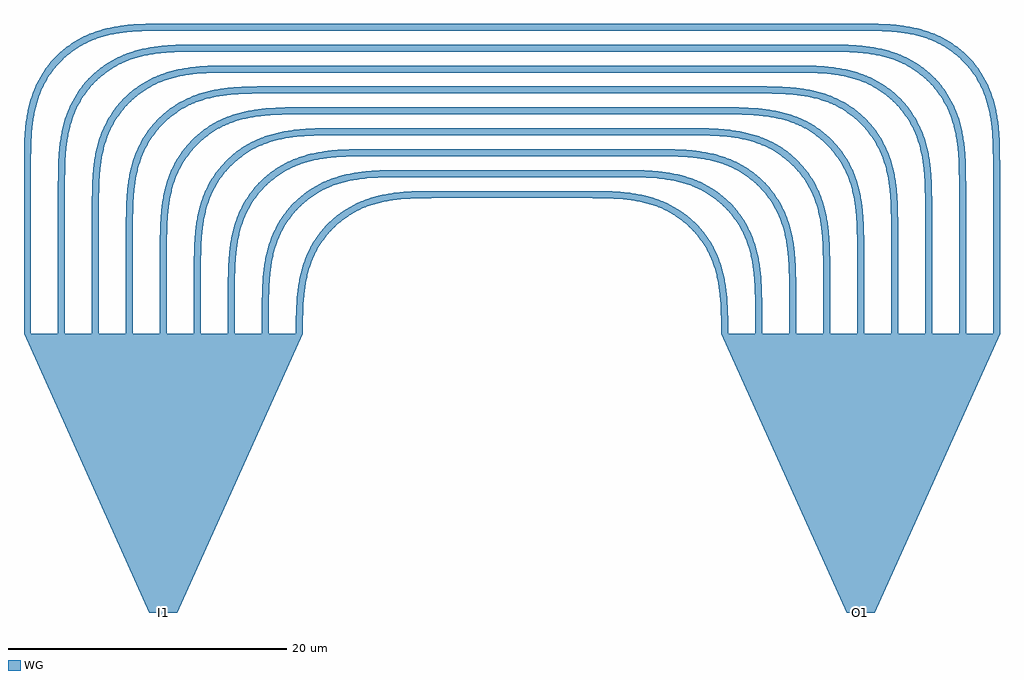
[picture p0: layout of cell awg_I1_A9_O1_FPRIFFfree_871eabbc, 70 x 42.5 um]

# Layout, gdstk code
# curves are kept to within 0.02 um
from math import pi, radians
import gdstk
lib = gdstk.Library(unit=1e-6, precision=1e-09)
def R(c, l, rs):  # rectangles x0, y0, x1, y1
    for r in rs: c.add(gdstk.rectangle(r[:2], r[2:], *l))
def P(c, l, *ps):  # polygons
    for p in ps: c.add(gdstk.Polygon(p, *l))
WG = (200, 0)

free_propagation_region_ = lib.new_cell('free_propagation_region_8918fe0a')
P(free_propagation_region_, WG, [(20,-10),(0,-1),(0,1),(20,10)],
  [(0,-0.25),(-0.25,0),(-0.062,0.188),(-0.025,0.188),(-0.215,0),(-0.025,0),(-0.025,0.188),(-0.062,0.188),(0,0.25)],
  [(20,-10),(20,-9.75),(20.025,-9.75),(20.025,-9.938),(20.215,-9.75),(20,-9.75),(20,-9.5),(20.25,-9.75)],
  [(20,-7.562),(20,-7.312),(20.025,-7.312),(20.025,-7.5),(20.215,-7.312),(20,-7.312),(20,-7.062),(20.25,-7.312)],
  [(20,-5.125),(20,-4.875),(20.025,-4.875),(20.025,-5.063),(20.215,-4.875),(20,-4.875),(20,-4.625),(20.25,-4.875)],
  [(20,-2.688),(20,-2.438),(20.025,-2.438),(20.025,-2.626),(20.215,-2.438),(20,-2.438),(20,-2.188),(20.25,-2.438)],
  [(20,-0.25),(20,0),(20.025,0),(20.025,-0.188),(20.215,0),(20,0),(20,0.25),(20.25,0)],
  [(20,2.188),(20,2.438),(20.025,2.438),(20.025,2.25),(20.215,2.438),(20,2.438),(20,2.688),(20.25,2.438)],
  [(20,4.625),(20,4.875),(20.025,4.875),(20.025,4.687),(20.215,4.875),(20,4.875),(20,5.125),(20.25,4.875)],
  [(20,7.062),(20,7.312),(20.025,7.312),(20.025,7.124),(20.215,7.312),(20,7.312),(20,7.562),(20.25,7.312)],
  [(20,9.5),(20,9.75),(20.025,9.75),(20.025,9.562),(20.215,9.75),(20,9.75),(20,10),(20.25,9.75)])
free_propagation_region_.add(gdstk.Label('o1', (0,0), layer=200, texttype=0))
free_propagation_region_.add(gdstk.Label('E0', (20,-9.75), layer=200, texttype=0))
free_propagation_region_.add(gdstk.Label('E1', (20,-7.312), layer=200, texttype=0))
free_propagation_region_.add(gdstk.Label('E2', (20,-4.875), layer=200, texttype=0))
free_propagation_region_.add(gdstk.Label('E3', (20,-2.438), layer=200, texttype=0))
free_propagation_region_.add(gdstk.Label('E4', (20,0), layer=200, texttype=0))
free_propagation_region_.add(gdstk.Label('E5', (20,2.438), layer=200, texttype=0))
free_propagation_region_.add(gdstk.Label('E6', (20,4.875), layer=200, texttype=0))
free_propagation_region_.add(gdstk.Label('E7', (20,7.312), layer=200, texttype=0))
free_propagation_region_.add(gdstk.Label('E8', (20,9.75), layer=200, texttype=0))

bend_euler_r10_a90_p0p5_ = lib.new_cell('bend_euler_R10_A90_P0p5_f9fcb00b')
P(bend_euler_r10_a90_p0p5_, WG, [(0,-0.25),(0,0.25),(1.655,0.269),(2.881,0.353),(3.952,0.52),(4.99,0.806),(5.731,1.113),(6.431,1.505),(7.079,1.976),(7.575,2.425),(8.024,2.921),(8.495,3.569),(8.887,4.269),(9.194,5.01),(9.48,6.048),(9.647,7.119),(9.731,8.345),(9.75,10),(10.25,10),(10.235,8.468),(10.158,7.205),(10.023,6.224),(9.797,5.254),(9.457,4.312),(9.066,3.545),(8.5,2.715),(7.928,2.072),(7.285,1.5),(6.455,0.934),(5.688,0.543),(4.746,0.203),(3.776,-0.023),(2.795,-0.158),(1.532,-0.235)])

straight_l12_n2_csstrip = lib.new_cell('straight_L12_N2_CSstrip')
R(straight_l12_n2_csstrip, WG, [(0,-0.25,12,0.25)])

straight_l49p5_n2_csstri = lib.new_cell('straight_L49p5_N2_CSstrip')
R(straight_l49p5_n2_csstri, WG, [(0,-0.25,49.5,0.25)])

straight_l10p5_n2_csstri = lib.new_cell('straight_L10p5_N2_CSstrip')
R(straight_l10p5_n2_csstri, WG, [(0,-0.25,10.5,0.25)])

straight_l44p624_n2_csst = lib.new_cell('straight_L44p624_N2_CSstrip')
R(straight_l44p624_n2_csst, WG, [(0,-0.25,44.624,0.25)])

straight_l9_n2_csstrip = lib.new_cell('straight_L9_N2_CSstrip')
R(straight_l9_n2_csstrip, WG, [(0,-0.25,9,0.25)])

straight_l39p75_n2_csstr = lib.new_cell('straight_L39p75_N2_CSstrip')
R(straight_l39p75_n2_csstr, WG, [(0,-0.25,39.75,0.25)])

straight_l7p5_n2_csstrip = lib.new_cell('straight_L7p5_N2_CSstrip')
R(straight_l7p5_n2_csstrip, WG, [(0,-0.25,7.5,0.25)])

straight_l34p876_n2_csst = lib.new_cell('straight_L34p876_N2_CSstrip')
R(straight_l34p876_n2_csst, WG, [(0,-0.25,34.876,0.25)])

straight_l6_n2_csstrip = lib.new_cell('straight_L6_N2_CSstrip')
R(straight_l6_n2_csstrip, WG, [(0,-0.25,6,0.25)])

straight_l30_n2_csstrip = lib.new_cell('straight_L30_N2_CSstrip')
R(straight_l30_n2_csstrip, WG, [(0,-0.25,30,0.25)])

straight_l4p5_n2_csstrip = lib.new_cell('straight_L4p5_N2_CSstrip')
R(straight_l4p5_n2_csstrip, WG, [(0,-0.25,4.5,0.25)])

straight_l25p124_n2_csst = lib.new_cell('straight_L25p124_N2_CSstrip')
R(straight_l25p124_n2_csst, WG, [(0,-0.25,25.124,0.25)])

straight_l3_n2_csstrip = lib.new_cell('straight_L3_N2_CSstrip')
R(straight_l3_n2_csstrip, WG, [(0,-0.25,3,0.25)])

straight_l20p25_n2_csstr = lib.new_cell('straight_L20p25_N2_CSstrip')
R(straight_l20p25_n2_csstr, WG, [(0,-0.25,20.25,0.25)])

straight_l1p5_n2_csstrip = lib.new_cell('straight_L1p5_N2_CSstrip')
R(straight_l1p5_n2_csstrip, WG, [(0,-0.25,1.5,0.25)])

straight_l15p376_n2_csst = lib.new_cell('straight_L15p376_N2_CSstrip')
R(straight_l15p376_n2_csst, WG, [(0,-0.25,15.376,0.25)])

awg_i1_a9_o1_fprifffree_ = lib.new_cell('awg_I1_A9_O1_FPRIFFfree_871eabbc')
P(awg_i1_a9_o1_fprifffree_, WG, [(0,-0.25),(-0.225,-0.025),(-0.188,-0.025),(0,-0.215),(0,-0.025),(-0.225,-0.025),(-0.25,0),(0.25,0)],
  [(50,-0.25),(49.775,-0.025),(49.812,-0.025),(50,-0.215),(50,-0.025),(49.775,-0.025),(49.75,0),(50.25,0)])
awg_i1_a9_o1_fprifffree_.add(gdstk.Reference(free_propagation_region_, (0,0), rotation=pi/2))
awg_i1_a9_o1_fprifffree_.add(gdstk.Reference(free_propagation_region_, (50,0), rotation=pi/2))
awg_i1_a9_o1_fprifffree_.add(gdstk.Reference(bend_euler_r10_a90_p0p5_, (49.75,42), x_reflection=True))
awg_i1_a9_o1_fprifffree_.add(gdstk.Reference(straight_l12_n2_csstrip, (59.75,32), rotation=3*pi/2))
awg_i1_a9_o1_fprifffree_.add(gdstk.Reference(bend_euler_r10_a90_p0p5_, (-9.75,32), rotation=pi/2, x_reflection=True))
awg_i1_a9_o1_fprifffree_.add(gdstk.Reference(straight_l49p5_n2_csstri, (0.25,42)))
awg_i1_a9_o1_fprifffree_.add(gdstk.Reference(straight_l12_n2_csstrip, (-9.75,32), rotation=3*pi/2))
awg_i1_a9_o1_fprifffree_.add(gdstk.Reference(bend_euler_r10_a90_p0p5_, (47.312,40.5), x_reflection=True))
awg_i1_a9_o1_fprifffree_.add(gdstk.Reference(straight_l10p5_n2_csstri, (57.312,30.5), rotation=3*pi/2))
awg_i1_a9_o1_fprifffree_.add(gdstk.Reference(bend_euler_r10_a90_p0p5_, (-7.312,30.5), rotation=pi/2, x_reflection=True))
awg_i1_a9_o1_fprifffree_.add(gdstk.Reference(straight_l44p624_n2_csst, (2.688,40.5)))
awg_i1_a9_o1_fprifffree_.add(gdstk.Reference(straight_l10p5_n2_csstri, (-7.312,30.5), rotation=3*pi/2))
awg_i1_a9_o1_fprifffree_.add(gdstk.Reference(bend_euler_r10_a90_p0p5_, (44.875,39), x_reflection=True))
awg_i1_a9_o1_fprifffree_.add(gdstk.Reference(straight_l9_n2_csstrip, (54.875,29), rotation=3*pi/2))
awg_i1_a9_o1_fprifffree_.add(gdstk.Reference(bend_euler_r10_a90_p0p5_, (-4.875,29), rotation=pi/2, x_reflection=True))
awg_i1_a9_o1_fprifffree_.add(gdstk.Reference(straight_l39p75_n2_csstr, (5.125,39)))
awg_i1_a9_o1_fprifffree_.add(gdstk.Reference(straight_l9_n2_csstrip, (-4.875,29), rotation=3*pi/2))
awg_i1_a9_o1_fprifffree_.add(gdstk.Reference(bend_euler_r10_a90_p0p5_, (42.438,37.5), x_reflection=True))
awg_i1_a9_o1_fprifffree_.add(gdstk.Reference(straight_l7p5_n2_csstrip, (52.438,27.5), rotation=3*pi/2))
awg_i1_a9_o1_fprifffree_.add(gdstk.Reference(bend_euler_r10_a90_p0p5_, (-2.438,27.5), rotation=pi/2, x_reflection=True))
awg_i1_a9_o1_fprifffree_.add(gdstk.Reference(straight_l34p876_n2_csst, (7.562,37.5)))
awg_i1_a9_o1_fprifffree_.add(gdstk.Reference(straight_l7p5_n2_csstrip, (-2.438,27.5), rotation=3*pi/2))
awg_i1_a9_o1_fprifffree_.add(gdstk.Reference(bend_euler_r10_a90_p0p5_, (40,36), x_reflection=True))
awg_i1_a9_o1_fprifffree_.add(gdstk.Reference(straight_l6_n2_csstrip, (50,26), rotation=3*pi/2))
awg_i1_a9_o1_fprifffree_.add(gdstk.Reference(bend_euler_r10_a90_p0p5_, (0,26), rotation=pi/2, x_reflection=True))
awg_i1_a9_o1_fprifffree_.add(gdstk.Reference(straight_l30_n2_csstrip, (10,36)))
awg_i1_a9_o1_fprifffree_.add(gdstk.Reference(straight_l6_n2_csstrip, (0,26), rotation=3*pi/2))
awg_i1_a9_o1_fprifffree_.add(gdstk.Reference(bend_euler_r10_a90_p0p5_, (37.562,34.5), x_reflection=True))
awg_i1_a9_o1_fprifffree_.add(gdstk.Reference(straight_l4p5_n2_csstrip, (47.562,24.5), rotation=3*pi/2))
awg_i1_a9_o1_fprifffree_.add(gdstk.Reference(bend_euler_r10_a90_p0p5_, (2.438,24.5), rotation=pi/2, x_reflection=True))
awg_i1_a9_o1_fprifffree_.add(gdstk.Reference(straight_l25p124_n2_csst, (12.438,34.5)))
awg_i1_a9_o1_fprifffree_.add(gdstk.Reference(straight_l4p5_n2_csstrip, (2.438,24.5), rotation=3*pi/2))
awg_i1_a9_o1_fprifffree_.add(gdstk.Reference(bend_euler_r10_a90_p0p5_, (35.125,33), x_reflection=True))
awg_i1_a9_o1_fprifffree_.add(gdstk.Reference(straight_l3_n2_csstrip, (45.125,23), rotation=3*pi/2))
awg_i1_a9_o1_fprifffree_.add(gdstk.Reference(bend_euler_r10_a90_p0p5_, (4.875,23), rotation=pi/2, x_reflection=True))
awg_i1_a9_o1_fprifffree_.add(gdstk.Reference(straight_l20p25_n2_csstr, (14.875,33)))
awg_i1_a9_o1_fprifffree_.add(gdstk.Reference(straight_l3_n2_csstrip, (4.875,23), rotation=3*pi/2))
awg_i1_a9_o1_fprifffree_.add(gdstk.Reference(bend_euler_r10_a90_p0p5_, (32.688,31.5), x_reflection=True))
awg_i1_a9_o1_fprifffree_.add(gdstk.Reference(straight_l1p5_n2_csstrip, (42.688,21.5), rotation=3*pi/2))
awg_i1_a9_o1_fprifffree_.add(gdstk.Reference(bend_euler_r10_a90_p0p5_, (7.312,21.5), rotation=pi/2, x_reflection=True))
awg_i1_a9_o1_fprifffree_.add(gdstk.Reference(straight_l15p376_n2_csst, (17.312,31.5)))
awg_i1_a9_o1_fprifffree_.add(gdstk.Reference(straight_l1p5_n2_csstrip, (7.312,21.5), rotation=3*pi/2))
awg_i1_a9_o1_fprifffree_.add(gdstk.Reference(bend_euler_r10_a90_p0p5_, (30.25,30), x_reflection=True))
awg_i1_a9_o1_fprifffree_.add(gdstk.Reference(bend_euler_r10_a90_p0p5_, (9.75,20), rotation=pi/2, x_reflection=True))
awg_i1_a9_o1_fprifffree_.add(gdstk.Reference(straight_l10p5_n2_csstri, (19.75,30)))
awg_i1_a9_o1_fprifffree_.add(gdstk.Label('I1', (0,0), layer=200, texttype=0))
awg_i1_a9_o1_fprifffree_.add(gdstk.Label('O1', (50,0), layer=200, texttype=0))

lib.write_gds('awg_I1_A9_O1_FPRIFFfree_871eabbc.gds')
